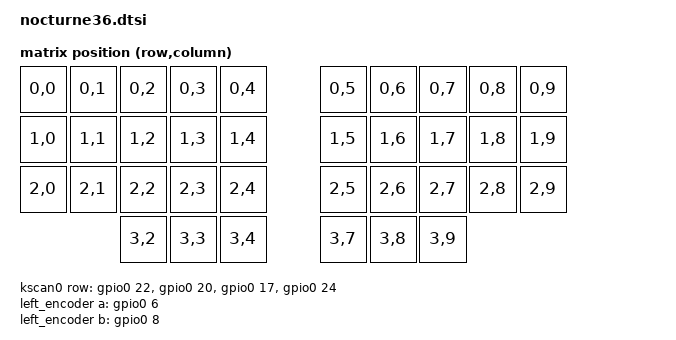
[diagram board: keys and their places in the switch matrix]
#include <dt-bindings/zmk/matrix_transform.h>

/ {
    chosen {
        zmk,kscan = &kscan0;
        zmk,matrix-transform = &default_transform;
        zephyr,display = &oled;
    };

    kscan0: kscan {
        compatible = "zmk,kscan-gpio-matrix";
        label = "default_kscan";
        diode-direction = "col2row";

        
        row-gpios = 
            <&gpio0 22 (GPIO_ACTIVE_HIGH | GPIO_PULL_DOWN)>,  /* row0 → D4 → P0.22 */
            <&gpio0 20 (GPIO_ACTIVE_HIGH | GPIO_PULL_DOWN)>,  /* row1 → D3 → P0.20 */
            <&gpio0 17 (GPIO_ACTIVE_HIGH | GPIO_PULL_DOWN)>,  /* row2 → D2 → P0.17 */
            <&gpio0 24 (GPIO_ACTIVE_HIGH | GPIO_PULL_DOWN)>;  /* row3 → D5 → P0.24 */
    };

    default_transform: matrix_transform {
        compatible = "zmk,matrix-transform";
        rows = <4>;
        columns = <10>;

        map = <
            RC(0,0) RC(0,1) RC(0,2) RC(0,3) RC(0,4)   RC(0,5) RC(0,6) RC(0,7) RC(0,8) RC(0,9)
            RC(1,0) RC(1,1) RC(1,2) RC(1,3) RC(1,4)   RC(1,5) RC(1,6) RC(1,7) RC(1,8) RC(1,9) 
            RC(2,0) RC(2,1) RC(2,2) RC(2,3) RC(2,4)   RC(2,5) RC(2,6) RC(2,7) RC(2,8) RC(2,9)
                            RC(3,2) RC(3,3) RC(3,4)   RC(3,7) RC(3,8) RC(3,9)
        >;
    };

    
    left_encoder: ec11_0 {
        compatible = "alps,ec11";
        a-gpios = <&gpio0 6 (GPIO_ACTIVE_HIGH | GPIO_PULL_UP)>;  
        b-gpios = <&gpio0 8 (GPIO_ACTIVE_HIGH | GPIO_PULL_UP)>;  
        steps = <20>;
        status = "okay";
    };
    sensors {
        compatible = "zmk,keymap-sensors";
        sensors = <&left_encoder>;
    };
};

&pinctrl {
    i2c0_default: i2c0_default {
        group1 {
            psels = <NRF_PSEL(TWIM_SDA,1,11)>,
            <NRF_PSEL(TWIM_SCL,0,10)>;
        };
    };
        i2c0_sleep: i2c0_sleep {
        group1 {
            psels = <NRF_PSEL(TWIM_SDA, 1, 11)>,
                <NRF_PSEL(TWIM_SCL, 0, 10)>;
            low-power-enable;
        };
    };
};

&i2c0 {
    status = "okay";
    pinctrl-0 = <&i2c0_default>;
    pinctrl-1 = <&i2c0_sleep>;
    pinctrl-names = "default","sleep";
    clock-frequency = <I2C_BITRATE_FAST>;

    oled: ssd1306@3c {
        compatible = "solomon,ssd1306fb";
        reg = <0x3c>;
        width = <128>;
        height = <32>;
        segment-offset = <0>;
        page-offset = <0>;
        display-offset = <0>;
        multiplex-ratio = <31>;
        segment-remap;
        com-invdir;
        com-sequential;
        inversion-on;
        prechargep = <0x22>;
    };
};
